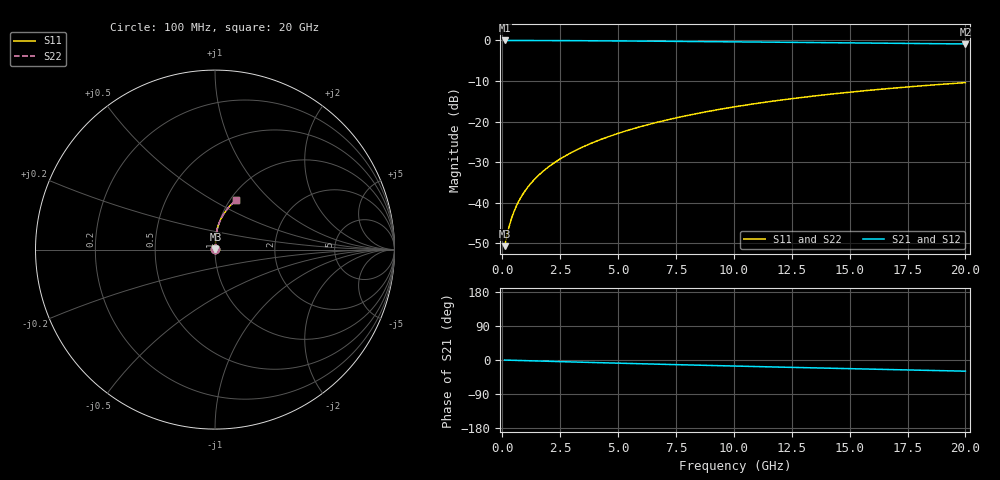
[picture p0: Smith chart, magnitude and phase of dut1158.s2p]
! Touchstone file exported from HFSS 2024.1.0
!  File:  C:/UserFiles/LocalFiles/RDL_TSV_Batchsim/temp_RDL_top_1158_1780048429.aedt
!  Generated:  05:56:07 PM May 29, 2026
!  Design:  RDL_top
!  Project:  temp_RDL_top_1158_1780048429
!  Setup:  Setup1
!  Solution:  Sweep
! Variables:
!  dtsv = 10.80580581um
!  hbump = 3um
!  htsv = 77.71um
!  ldown = 100um
!  lrdl = 375.9um
!  p = 40
!  p1 = 53.54um
!  rhole = 1um
!  t = 450um
!  tdown = 3.915915916um
!  trdl = 2.62um
!  wdown = 15.38538539um
!  wrdl = 23.07um
# GHz S MA R 50.000000
! Terminal data exported
! Port[1] = Box2_T1
! Port[2] = Box2_T2
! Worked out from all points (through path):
!   200 points, 100 MHz to 20 GHz, reference 50 ohm
!   highest |S21| = -0.02 dB at 100 MHz (marker M1); lowest = -0.9 dB at 20 GHz (marker M2)
!   group delay of S21, straight-line fit = 4.06 ps
!   lowest |S11| = -50.7 dB at 100 MHz (marker M3), VSWR 1.01, Z = 50.2 + j0.151 ohm
!   |S11| at or under -10 dB: start of sweep to end of sweep
!   |S22| runs from -50.7 to -10.4 dB; largest |S21 - S12| = 3.5e-15
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0.1  0.002909 31.0  0.9975 -0.2  0.9975 -0.2  0.002909 31.0
! Gamma 0 0 0 0
! Port Impedance 50 0 50 0
0.2  0.003926 49.1  0.9974 -0.4  0.9974 -0.4  0.003926 49.1
0.3  0.005142 58.8  0.9973 -0.5  0.9973 -0.5  0.005142 58.8
0.4  0.006413 64.5  0.9971 -0.7  0.9971 -0.7  0.006413 64.5
0.5  0.007698 68.3  0.997 -0.9  0.997 -0.9  0.007698 68.3
0.6  0.008986 71.0  0.9969 -1.1  0.9969 -1.1  0.008986 71.0
0.8  0.01158 74.9  0.9966 -1.4  0.9966 -1.4  0.01158 74.9
1.1  0.01551 78.5  0.9962 -1.9  0.9962 -1.9  0.01551 78.5
1.3  0.01816 80.1  0.9958 -2.3  0.9958 -2.3  0.01816 80.1
1.6  0.02219 81.8  0.9953 -2.8  0.9953 -2.8  0.02219 81.8
2.1  0.02902 83.7  0.9942 -3.6  0.9942 -3.6  0.02902 83.7
2.7  0.03741 85.0  0.9927 -4.6  0.9927 -4.6  0.03741 85.0
3.5  0.04891 85.8  0.9901 -6.0  0.9901 -6.0  0.04891 85.8
4.2  0.05925 86.1  0.9875 -7.1  0.9875 -7.1  0.05926 86.1
5  0.07138 86.0  0.9841 -8.4  0.9841 -8.4  0.07139 86.0
5.9  0.08535 85.5  0.98 -9.8  0.98 -9.8  0.08536 85.6
6.8  0.09959 84.8  0.9757 -11.2  0.9757 -11.2  0.0996 84.8
8.4  0.1253 83.1  0.9676 -13.6  0.9676 -13.6  0.1253 83.1
10.1  0.1528 80.9  0.9586 -16.1  0.9586 -16.1  0.1528 80.9
13.4  0.2052 76.2  0.9407 -20.7  0.9407 -20.7  0.2053 76.2
16.7  0.2551 71.3  0.9223 -25.2  0.9223 -25.2  0.2552 71.3
20  0.3016 66.6  0.9034 -29.5  0.9034 -29.5  0.3017 66.7
